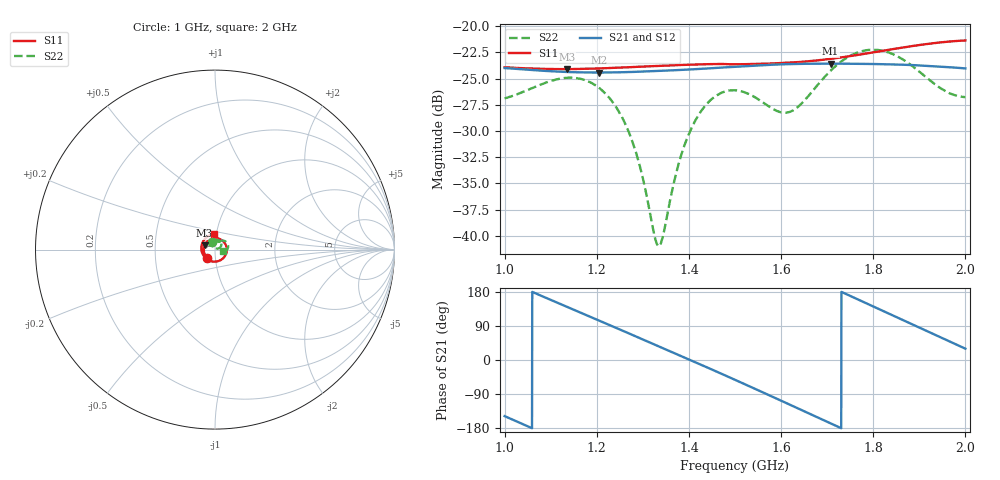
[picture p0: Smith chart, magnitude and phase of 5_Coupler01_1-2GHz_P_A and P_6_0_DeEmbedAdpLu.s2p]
# GHZ S RI R 50
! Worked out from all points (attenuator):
!   2001 points, 1 GHz to 2 GHz, reference 50 ohm
!   highest |S21| = -23.57 dB at 1.708 GHz (marker M1); lowest = -24.4 dB at 1.204 GHz (marker M2)
!   lowest |S11| = -24.1 dB at 1.135 GHz (marker M3), VSWR 1.13, Z = 44.5 + j2.05 ohm
!   |S11| at or under -10 dB: start of sweep to end of sweep
!   |S22| runs from -41.0 to -22.2 dB; largest |S21 - S12| = 8.5e-05
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1  -0.045 -0.0451  -0.0536 -0.0334  -0.0536 -0.0334  -0.019 0.0411
1.135  -0.058 0.0229  -0.0466 0.0386  -0.0466 0.0387  0.0123 0.0554
1.167  -0.0496 0.0381  -0.0334 0.0501  -0.0334 0.0501  0.024 0.0505
1.2045  -0.035 0.0522  -0.0147 0.0583  -0.0148 0.0583  0.0337 0.0381
1.242  -0.0166 0.0611  0.00556 0.06  0.00556 0.06  0.0346 0.0222
1.273  0.000204 0.0637  0.0221 0.0563  0.0221 0.0563  0.0278 0.011
1.2945  0.012 0.063  0.0328 0.051  0.0328 0.0511  0.0201 0.00656
1.3245  0.0279 0.0582  0.0457 0.0404  0.0458 0.0405  0.00794 0.00636
1.3335  0.0324 0.056  0.049 0.0366  0.049 0.0366  0.00457 0.0077
1.3435  0.0371 0.0532  0.0523 0.032  0.0523 0.032  0.00117 0.00985
1.3795  0.0519 0.0396  0.0604 0.0133  0.0604 0.0133  -0.00608 0.022
1.4085  0.0604 0.0256  0.0622 -0.00329  0.0622 -0.0033  -0.00498 0.0333
1.4505  0.0659 0.0022  0.0569 -0.0272  0.0569 -0.0272  0.00583 0.0447
1.5  0.0605 -0.026  0.0392 -0.0507  0.0392 -0.0507  0.0219 0.0443
1.607  0.0135 -0.0654  -0.0238 -0.0614  -0.0239 -0.0614  0.0234 0.0307
1.6335  -0.00245 -0.0673  -0.0388 -0.0535  -0.0388 -0.0535  0.0214 0.0346
1.667  -0.0227 -0.0644  -0.054 -0.0383  -0.054 -0.0383  0.0238 0.0424
1.7075  -0.045 -0.0534  -0.0646 -0.0147  -0.0647 -0.0147  0.0356 0.0499
1.7705  -0.0694 -0.0233  -0.0612 0.025  -0.0612 0.0251  0.0624 0.0425
1.8335  -0.0756 0.0153  -0.0354 0.0554  -0.0354 0.0555  0.0733 0.0154
1.9535  -0.0347 0.0765  0.0362 0.0528  0.0362 0.0528  0.0489 -0.00737
2  -0.00603 0.0853  0.0546 0.0313  0.0546 0.0313  0.0456 -0.0051
